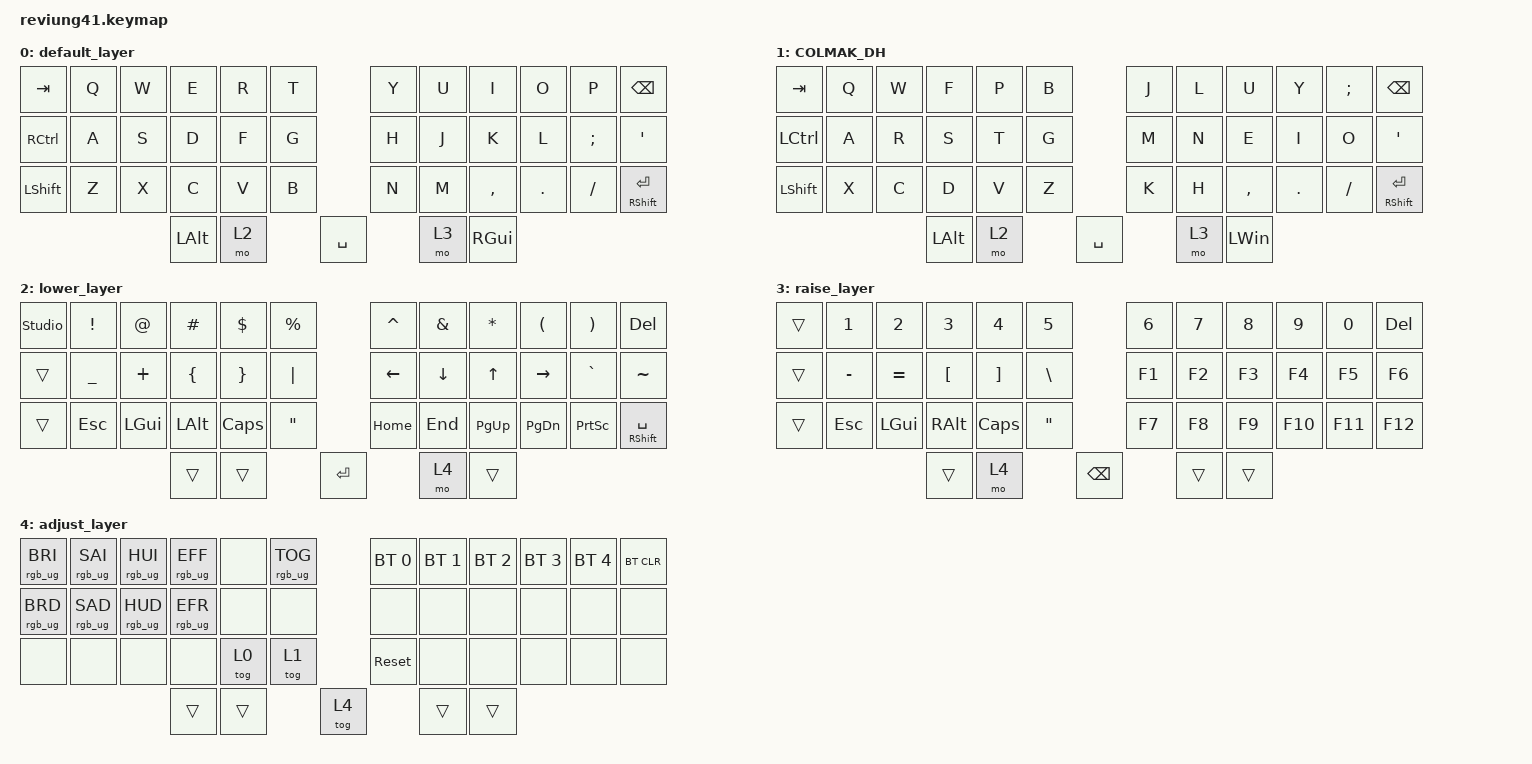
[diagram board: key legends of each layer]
/*
 * Copyright (c) 2020 The ZMK Contributors
 *
 * SPDX-License-Identifier: MIT
 */

#include <behaviors.dtsi>
#include <dt-bindings/zmk/bt.h>
#include <dt-bindings/zmk/keys.h>
#include <dt-bindings/zmk/rgb.h>

/ {
    keymap {
        compatible = "zmk,keymap";

        default_layer {
            // -------------------------------------------------------------------------------------
            // |  TAB |  Q  |  W  |  E  |  R  |  T  |   |  Y  |  U   |  I  |  O  |  P  |   BKSP    |
            // | CTRL |  A  |  S  |  D  |  F  |  G  |   |  H  |  J   |  K  |  L  |  ;  |    '      |
            // | SHFT |  Z  |  X  |  C  |  V  |  B  |   |  N  |  M   |  ,  |  .  |  /  | SHFT(RET) |
            //                         | ALT | LWR | SPC | RSE  | ALT |

            bindings = <
&kp TAB    &kp Q  &kp W  &kp E     &kp R  &kp T             &kp Y  &kp U  &kp I      &kp O    &kp P     &kp BSPC
&kp RCTRL  &kp A  &kp S  &kp D     &kp F  &kp G             &kp H  &kp J  &kp K      &kp L    &kp SEMI  &kp SQT
&kp LSHFT  &kp Z  &kp X  &kp C     &kp V  &kp B             &kp N  &kp M  &kp COMMA  &kp DOT  &kp FSLH  &mt RSHFT RET
                         &kp LALT  &mo 2         &kp SPACE         &mo 3  &kp RGUI
            >;
        };

        COLMAK_DH {
            bindings = <
&kp TAB         &kp Q  &kp W  &kp F         &kp P  &kp B             &kp J  &kp L  &kp U      &kp Y    &kp SEMI  &kp BACKSPACE
&kp LCTRL       &kp A  &kp R  &kp S         &kp T  &kp G             &kp M  &kp N  &kp E      &kp I    &kp O     &kp SQT
&kp LEFT_SHIFT  &kp X  &kp C  &kp D         &kp V  &kp Z             &kp K  &kp H  &kp COMMA  &kp DOT  &kp FSLH  &mt RIGHT_SHIFT ENTER
                              &kp LEFT_ALT  &mo 2         &kp SPACE         &mo 3  &kp LWIN
            >;
        };

        lower_layer {
            // ------------------------------------------------------------------------------------
            // |    |  !  |  @  |  #  |  $  |  %  |   |  ^  |  &  |  *  |  (  |  )  |      DEL    |
            // |    |  _  |  +  |  {  |  }  | "|" |   | LFT | DWN |  UP | RGT |  `  |       ~     |
            // |    | ESC | GUI | ALT | CAPS|  "  |   | HOME| END | PGUP| PGDN| PRSC| SHFT(SPACE) |
            //                       |     |     | RET | ADJ |     |

            bindings = <
&studio_unlock  &kp EXCL   &kp AT    &kp HASH  &kp DLLR  &kp PRCNT           &kp CARET  &kp AMPS  &kp ASTRK  &kp LPAR   &kp RPAR   &kp DEL
&trans          &kp UNDER  &kp PLUS  &kp LBRC  &kp RBRC  &kp PIPE            &kp LEFT   &kp DOWN  &kp UP     &kp RIGHT  &kp GRAVE  &kp TILDE
&trans          &kp ESC    &kp LGUI  &kp LALT  &kp CLCK  &kp DQT             &kp HOME   &kp END   &kp PG_UP  &kp PG_DN  &kp PSCRN  &mt RSHFT SPACE
                                     &trans    &trans               &kp RET             &mo 4     &trans
            >;
        };

        raise_layer {
            // ----------------------------------------------------------------------------
            // |    |  1  |  2  |  3  |  4  |  5  |   |  6  |  7  |  8  |  9  |  0  | DEL |
            // |    |  -  |  =  |  [  |  ]  |  \  |   | F1  | F2  | F3  | F4  | F5  | F6  |
            // |    | ESC | GUI | ALT | CAPS|  "  |   | F7  | F8  | F9  | F10 | F11 | F12 |
            //                       |     | ADJ | BKSP |    |     |

            bindings = <
&trans  &kp N1     &kp N2     &kp N3    &kp N4    &kp N5              &kp N6  &kp N7  &kp N8  &kp N9   &kp N0   &kp DEL
&trans  &kp MINUS  &kp EQUAL  &kp LBKT  &kp RBKT  &kp BSLH            &kp F1  &kp F2  &kp F3  &kp F4   &kp F5   &kp F6
&trans  &kp ESC    &kp LGUI   &kp RALT  &kp CLCK  &kp DQT             &kp F7  &kp F8  &kp F9  &kp F10  &kp F11  &kp F12
                              &trans    &mo 4               &kp BSPC          &trans  &trans
            >;
        };

        adjust_layer {
            // -----------------------------------------------------------------------------------------
            // | RGB BRI+ | RGB SAT+ | RGB HUE+ | RGB ANI+ |    | RGB TOG |   |  BT1  | BT2 | BT3 | BT4 | BT5 | BT CLR |
            // | RGB BRI- | RGB SAT- | RGB HUE- | RGB ANI- |    |         |   |       |     |     |     |     |        |
            // |          |          |          |          |    |         |   | RESET |     |     |     |     |        |
            //                                              |     |     |     |     |     |

            bindings = <
&rgb_ug RGB_BRI  &rgb_ug RGB_SAI  &rgb_ug RGB_HUI  &rgb_ug RGB_EFF  &none   &rgb_ug RGB_TOG          &bt BT_SEL 0  &bt BT_SEL 1  &bt BT_SEL 2  &bt BT_SEL 3  &bt BT_SEL 4  &bt BT_CLR
&rgb_ug RGB_BRD  &rgb_ug RGB_SAD  &rgb_ug RGB_HUD  &rgb_ug RGB_EFR  &none   &none                    &none         &none         &none         &none         &none         &none
&none            &none            &none            &none            &tog 0  &tog 1                   &sys_reset    &none         &none         &none         &none         &none
                                                   &trans           &trans                   &tog 4                &trans        &trans
            >;
        };
    };
};
